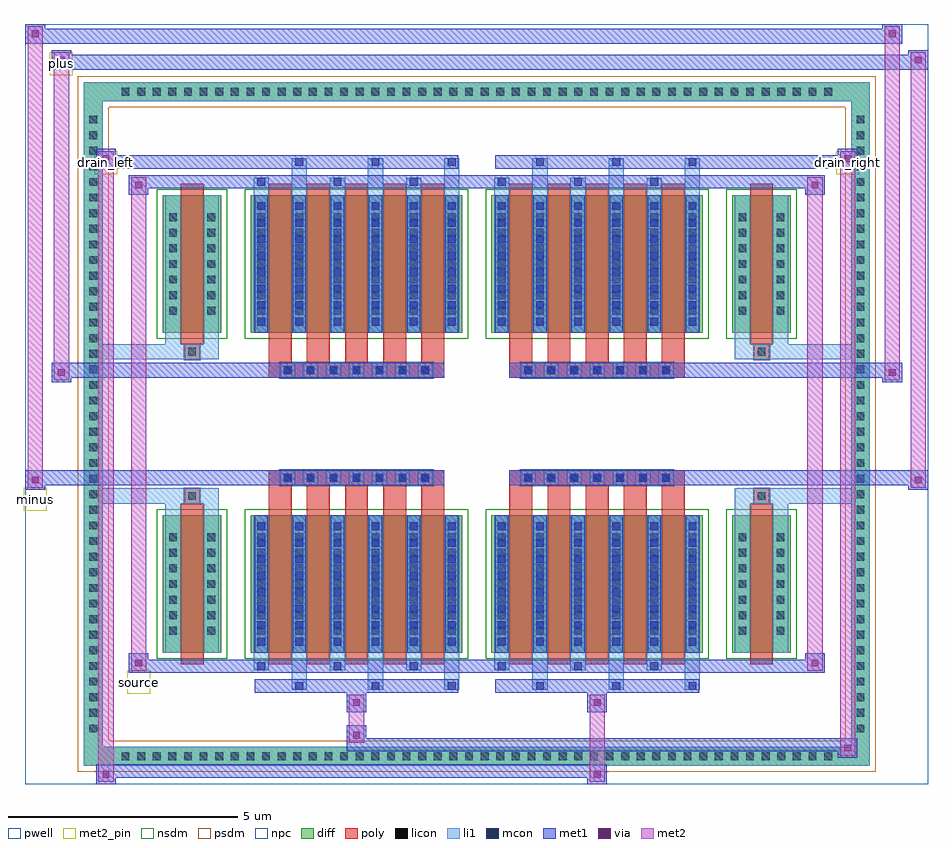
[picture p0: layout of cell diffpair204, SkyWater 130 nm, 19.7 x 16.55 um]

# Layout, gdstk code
import gdstk
lib = gdstk.Library(unit=1e-6, precision=5e-09)
def R(c, l, rs):  # rectangles x0, y0, x1, y1
    for r in rs: c.add(gdstk.rectangle(r[:2], r[2:], *l))
def A(c, l, x, y, w, h, nx, ny, dx, dy):  # array of equal rectangles
    R(c, l, [(x+i*dx, y+j*dy, x+i*dx+w, y+j*dy+h) for i in range(nx) for j in range(ny)])
def P(c, l, *ps):  # polygons
    for p in ps: c.add(gdstk.Polygon(p, *l))
pwell = (64, 44)
diff = (65, 20)
poly = (66, 20)
licon = (66, 44)
li1 = (67, 20)
mcon = (67, 44)
met1 = (68, 20)
via = (68, 44)
met2_pin = (69, 16)
met2 = (69, 20)
nsdm = (93, 44)
psdm = (94, 20)
npc = (95, 20)

diffpair204 = lib.new_cell('diffpair204')
R(diffpair204, pwell, [(-9.83,-7.84,9.83,8.71), (-7.15,-6.03,-0.01,-0.805), (0.01,-6.03,7.15,-0.805), (-7.15,0.805,-0.01,6.03), (0.01,0.805,7.15,6.03)])
A(diffpair204, diff, -7.855, -7.44, 0.41, 0.41, 46, 2, 0.34, 14.47)
A(diffpair204, diff, -8.56, -6.835, 0.41, 0.41, 1, 40, 0, 0.34)
A(diffpair204, diff, 8.15, -6.835, 0.41, 0.41, 1, 40, 0, 0.34)
R(diffpair204, diff, [(-7.855,-7.44,7.855,-7.03), (-8.56,-6.835,-8.15,6.835), (8.15,-6.835,8.56,6.835), (-6.84,-4.985,-5.56,-1.985), (-4.92,-4.985,-0.32,-1.985), (0.32,-4.985,4.92,-1.985), (5.56,-4.985,6.84,-1.985), (-6.84,1.985,-5.56,4.985), (-4.92,1.985,-0.32,4.985), (0.32,1.985,4.92,4.985), (5.56,1.985,6.84,4.985), (-7.855,7.03,7.855,7.44)])
P(diffpair204, diff, [(8.56,7.44),(-8.56,7.44),(-8.56,-7.03),(-8.15,-7.03),(-8.15,7.03),(8.15,7.03),(8.15,-7.03),(-8.15,-7.03),(-8.56,-7.03),(-8.56,-7.44),(8.56,-7.44)])
A(diffpair204, poly, -4.53, -5.235, 0.5, 3.5, 5, 2, 0.83, 6.97)
A(diffpair204, poly, 0.71, -5.235, 0.5, 3.5, 5, 2, 0.83, 6.97)
A(diffpair204, poly, -4.53, -1.735, 0.5, 0.4, 5, 2, 0.83, 3.07)
A(diffpair204, poly, 0.71, -1.735, 0.5, 0.4, 5, 2, 0.83, 3.07)
A(diffpair204, poly, -4.285, -1.335, 0.33, 0.33, 7, 2, 0.5, 2.34)
A(diffpair204, poly, 0.955, -1.335, 0.33, 0.33, 7, 2, 0.5, 2.34)
R(diffpair204, poly, [(-6.45,-5.235,-5.95,-1.735), (5.95,-5.235,6.45,-1.735), (-6.365,-1.735,-6.035,-1.405), (-6.365,-1.735,-6.035,-1.405), (6.035,-1.735,6.365,-1.405), (6.035,-1.735,6.365,-1.405), (-4.53,-1.335,-0.71,-1.005), (0.71,-1.335,4.53,-1.005), (-4.53,1.005,-0.71,1.335), (0.71,1.005,4.53,1.335), (-6.365,1.405,-6.035,1.735), (-6.365,1.405,-6.035,1.735), (6.035,1.405,6.365,1.735), (6.035,1.405,6.365,1.735), (-6.45,1.735,-5.95,5.235), (5.95,1.735,6.45,5.235)])
A(diffpair204, licon, -7.735, -7.32, 0.17, 0.17, 46, 2, 0.34, 14.47)
A(diffpair204, licon, -8.44, -6.715, 0.17, 0.17, 1, 40, 0, 0.34)
A(diffpair204, licon, 8.27, -6.715, 0.17, 0.17, 1, 40, 0, 0.34)
A(diffpair204, licon, -6.7, -4.59, 0.17, 0.17, 1, 7, 0, 0.34)
A(diffpair204, licon, -5.87, -4.59, 0.17, 0.17, 1, 7, 0, 0.34)
A(diffpair204, licon, -4.78, -4.59, 0.17, 0.17, 6, 7, 0.83, 0.34)
A(diffpair204, licon, 0.46, -4.59, 0.17, 0.17, 6, 7, 0.83, 0.34)
A(diffpair204, licon, 5.7, -4.59, 0.17, 0.17, 1, 7, 0, 0.34)
A(diffpair204, licon, 6.53, -4.59, 0.17, 0.17, 1, 7, 0, 0.34)
A(diffpair204, licon, -4.205, -1.255, 0.17, 0.17, 7, 2, 0.5, 2.34)
A(diffpair204, licon, 1.035, -1.255, 0.17, 0.17, 7, 2, 0.5, 2.34)
A(diffpair204, licon, -6.7, 2.38, 0.17, 0.17, 1, 7, 0, 0.34)
A(diffpair204, licon, -5.87, 2.38, 0.17, 0.17, 1, 7, 0, 0.34)
A(diffpair204, licon, -4.78, 2.38, 0.17, 0.17, 6, 7, 0.83, 0.34)
A(diffpair204, licon, 0.46, 2.38, 0.17, 0.17, 6, 7, 0.83, 0.34)
A(diffpair204, licon, 5.7, 2.38, 0.17, 0.17, 1, 7, 0, 0.34)
A(diffpair204, licon, 6.53, 2.38, 0.17, 0.17, 1, 7, 0, 0.34)
R(diffpair204, licon, [(-6.285,-1.655,-6.115,-1.485), (6.115,-1.655,6.285,-1.485), (-6.285,1.485,-6.115,1.655), (6.115,1.485,6.285,1.655)])
A(diffpair204, li1, -7.815, -7.4, 0.33, 0.33, 46, 2, 0.34, 14.47)
A(diffpair204, li1, -8.52, -6.795, 0.33, 0.33, 1, 40, 0, 0.34)
A(diffpair204, li1, 8.19, -6.795, 0.33, 0.33, 1, 40, 0, 0.34)
A(diffpair204, li1, -4.03, -5.79, 0.33, 0.805, 3, 2, 1.66, 10.775)
A(diffpair204, li1, -3.95, -5.79, 0.17, 0.17, 3, 2, 1.66, 11.41)
A(diffpair204, li1, 1.21, -5.79, 0.33, 0.805, 3, 2, 1.66, 10.775)
A(diffpair204, li1, 1.29, -5.79, 0.17, 0.17, 3, 2, 1.66, 11.41)
A(diffpair204, li1, -4.86, -5.36, 0.33, 0.375, 3, 2, 1.66, 10.345)
A(diffpair204, li1, -4.78, -5.36, 0.17, 0.17, 3, 2, 1.66, 10.55)
A(diffpair204, li1, 0.38, -5.36, 0.33, 0.375, 3, 2, 1.66, 10.345)
A(diffpair204, li1, 0.46, -5.36, 0.17, 0.17, 3, 2, 1.66, 10.55)
A(diffpair204, li1, -4.86, -4.985, 0.33, 3, 6, 2, 0.83, 6.97)
A(diffpair204, li1, 0.38, -4.985, 0.33, 3, 6, 2, 0.83, 6.97)
A(diffpair204, li1, -4.78, -4.83, 0.17, 0.17, 6, 8, 0.83, 0.36)
A(diffpair204, li1, -4.78, -4.83, 0.17, 2.69, 6, 2, 0.83, 6.97)
A(diffpair204, li1, 0.46, -4.83, 0.17, 0.17, 6, 8, 0.83, 0.36)
A(diffpair204, li1, 0.46, -4.83, 0.17, 2.69, 6, 2, 0.83, 6.97)
A(diffpair204, li1, -6.78, -4.67, 0.33, 0.33, 1, 7, 0, 0.34)
A(diffpair204, li1, -5.95, -4.67, 0.33, 0.33, 1, 7, 0, 0.34)
A(diffpair204, li1, -4.86, -4.67, 0.33, 0.33, 6, 7, 0.83, 0.34)
A(diffpair204, li1, 0.38, -4.67, 0.33, 0.33, 6, 7, 0.83, 0.34)
A(diffpair204, li1, 5.62, -4.67, 0.33, 0.33, 1, 7, 0, 0.34)
A(diffpair204, li1, 6.45, -4.67, 0.33, 0.33, 1, 7, 0, 0.34)
A(diffpair204, li1, -4.285, -1.335, 0.33, 0.33, 7, 2, 0.5, 2.34)
A(diffpair204, li1, 0.955, -1.335, 0.33, 0.33, 7, 2, 0.5, 2.34)
A(diffpair204, li1, -4.78, 2.14, 0.17, 0.17, 6, 8, 0.83, 0.36)
A(diffpair204, li1, 0.46, 2.14, 0.17, 0.17, 6, 8, 0.83, 0.36)
A(diffpair204, li1, -6.78, 2.3, 0.33, 0.33, 1, 7, 0, 0.34)
A(diffpair204, li1, -5.95, 2.3, 0.33, 0.33, 1, 7, 0, 0.34)
A(diffpair204, li1, -4.86, 2.3, 0.33, 0.33, 6, 7, 0.83, 0.34)
A(diffpair204, li1, 0.38, 2.3, 0.33, 0.33, 6, 7, 0.83, 0.34)
A(diffpair204, li1, 5.62, 2.3, 0.33, 0.33, 1, 7, 0, 0.34)
A(diffpair204, li1, 6.45, 2.3, 0.33, 0.33, 1, 7, 0, 0.34)
R(diffpair204, li1, [(-8.56,-7.44,-8.15,-7.03), (-8.56,-7.44,-8.15,-7.03), (-8.15,-7.44,8.15,-7.03), (8.15,-7.44,8.56,-7.03), (8.15,-7.44,8.56,-7.03), (-8.56,-7.03,-8.15,7.03), (8.15,-7.03,8.56,7.03), (-6.78,-4.985,-6.45,-1.985), (-5.95,-4.985,-5.62,-1.985), (5.62,-4.985,5.95,-1.985), (6.45,-4.985,6.78,-1.985), (-6.78,-1.985,-6.45,-1.405), (-5.95,-1.985,-5.62,-1.405), (5.62,-1.985,5.95,-1.405), (6.45,-1.985,6.78,-1.405), (-8.56,-1.735,-6.365,-1.405), (-6.78,-1.735,-6.365,-1.405), (-6.365,-1.735,-6.035,-1.405), (-6.035,-1.735,-5.62,-1.405), (5.62,-1.735,6.035,-1.405), (6.035,-1.735,6.365,-1.405), (6.035,-1.735,8.56,-1.405), (6.365,-1.735,6.78,-1.405), (-8.56,1.405,-6.365,1.735), (-6.78,1.405,-6.365,1.735), (-6.78,1.405,-6.45,1.985), (-6.365,1.405,-6.035,1.735), (-6.035,1.405,-5.62,1.735), (-5.95,1.405,-5.62,1.985), (5.62,1.405,6.035,1.735), (5.62,1.405,5.95,1.985), (6.035,1.405,6.365,1.735), (6.035,1.405,8.56,1.735), (6.365,1.405,6.78,1.735), (6.45,1.405,6.78,1.985), (-6.78,1.985,-6.45,4.985), (-5.95,1.985,-5.62,4.985), (5.62,1.985,5.95,4.985), (6.45,1.985,6.78,4.985), (-8.56,7.03,-8.15,7.44), (-8.56,7.03,-8.15,7.44), (-8.15,7.03,8.15,7.44), (8.15,7.03,8.56,7.44), (8.15,7.03,8.56,7.44)])
A(diffpair204, mcon, -3.95, -5.79, 0.17, 0.17, 3, 2, 1.66, 11.41)
A(diffpair204, mcon, 1.29, -5.79, 0.17, 0.17, 3, 2, 1.66, 11.41)
A(diffpair204, mcon, -4.78, -5.36, 0.17, 0.17, 3, 2, 1.66, 10.55)
A(diffpair204, mcon, 0.46, -5.36, 0.17, 0.17, 3, 2, 1.66, 10.55)
A(diffpair204, mcon, -4.78, -4.83, 0.17, 0.17, 6, 8, 0.83, 0.36)
A(diffpair204, mcon, 0.46, -4.83, 0.17, 0.17, 6, 8, 0.83, 0.36)
A(diffpair204, mcon, -4.205, -1.255, 0.17, 0.17, 7, 2, 0.5, 2.34)
A(diffpair204, mcon, 1.035, -1.255, 0.17, 0.17, 7, 2, 0.5, 2.34)
A(diffpair204, mcon, -4.78, 2.14, 0.17, 0.17, 6, 8, 0.83, 0.36)
A(diffpair204, mcon, 0.46, 2.14, 0.17, 0.17, 6, 8, 0.83, 0.36)
A(diffpair204, met1, -4.01, -5.85, 0.29, 0.29, 3, 2, 1.66, 11.41)
A(diffpair204, met1, 1.23, -5.85, 0.29, 0.29, 3, 2, 1.66, 11.41)
A(diffpair204, met1, -4.84, -5.42, 0.29, 0.29, 3, 2, 1.66, 10.55)
A(diffpair204, met1, 0.4, -5.42, 0.29, 0.29, 3, 2, 1.66, 10.55)
A(diffpair204, met1, -4.84, -4.985, 0.29, 3, 6, 2, 0.83, 6.97)
A(diffpair204, met1, 0.4, -4.985, 0.29, 3, 6, 2, 0.83, 6.97)
A(diffpair204, met1, -4.84, -4.89, 0.29, 0.29, 6, 8, 0.83, 0.36)
A(diffpair204, met1, 0.4, -4.89, 0.29, 0.29, 6, 8, 0.83, 0.36)
A(diffpair204, met1, -4.265, -1.315, 0.29, 0.29, 7, 2, 0.5, 2.34)
A(diffpair204, met1, 0.975, -1.315, 0.29, 0.29, 7, 2, 0.5, 2.34)
A(diffpair204, met1, -4.84, 2.08, 0.29, 0.29, 6, 8, 0.83, 0.36)
A(diffpair204, met1, 0.4, 2.08, 0.29, 0.29, 6, 8, 0.83, 0.36)
R(diffpair204, met1, [(-8.29,-7.84,-7.86,-7.41), (2.405,-7.84,2.835,-7.41), (-8.29,-7.7,2.835,-7.41), (7.86,-7.27,8.29,-6.84), (-2.835,-7.13,8.29,-6.84), (-2.835,-6.99,-2.405,-6.56), (-2.835,-6.28,-2.405,-5.85), (2.405,-6.28,2.835,-5.85), (-4.84,-5.85,-0.4,-5.56), (0.4,-5.85,4.84,-5.56), (-7.58,-5.42,-7.15,-4.99), (-7.58,-5.42,-4.84,-5.13), (-4.84,-5.42,-0.4,-5.13), (-0.4,-5.42,0.4,-5.13), (0.4,-5.42,4.84,-5.13), (4.84,-5.42,7.58,-5.13), (7.15,-5.42,7.58,-4.99), (-9.83,-1.435,-9.4,-1.005), (9.4,-1.435,9.83,-1.005), (-9.83,-1.335,-0.71,-1.005), (-4.53,-1.335,-0.71,-1.005), (0.71,-1.335,4.53,-1.005), (0.71,-1.335,9.83,-1.005), (-9.26,0.905,-8.83,1.335), (8.83,0.905,9.26,1.335), (-9.26,1.005,-4.53,1.335), (-4.53,1.005,-0.71,1.335), (0.71,1.005,4.53,1.335), (4.53,1.005,9.26,1.335), (-7.58,4.99,-7.15,5.42), (7.15,4.99,7.58,5.42), (-7.58,5.13,-4.84,5.42), (-4.84,5.13,-0.4,5.42), (-0.4,5.13,0.4,5.42), (0.4,5.13,4.84,5.42), (4.84,5.13,7.58,5.42), (-8.29,5.56,-7.86,5.99), (-8.29,5.56,-4.84,5.85), (-4.84,5.56,-0.4,5.85), (0.4,5.56,4.84,5.85), (4.84,5.56,8.29,5.85), (7.86,5.56,8.29,5.99), (-9.26,7.71,-8.83,8.14), (-9.26,7.71,-7.15,8.04), (-7.15,7.71,7.15,8.04), (7.15,7.71,9.83,8.04), (9.4,7.71,9.83,8.14), (-9.83,8.28,-9.4,8.71), (-9.83,8.28,-7.15,8.61), (-7.15,8.28,7.15,8.61), (7.15,8.28,9.26,8.61), (8.83,8.28,9.26,8.71)])
R(diffpair204, via, [(-8.15,-7.7,-8,-7.55), (2.545,-7.7,2.695,-7.55), (8,-7.13,8.15,-6.98), (-2.695,-6.85,-2.545,-6.7), (-2.695,-6.14,-2.545,-5.99), (2.545,-6.14,2.695,-5.99), (-7.44,-5.28,-7.29,-5.13), (7.29,-5.28,7.44,-5.13), (-9.69,-1.295,-9.54,-1.145), (9.54,-1.295,9.69,-1.145), (-9.12,1.045,-8.97,1.195), (8.97,1.045,9.12,1.195), (-7.44,5.13,-7.29,5.28), (7.29,5.13,7.44,5.28), (-8.15,5.7,-8,5.85), (8,5.7,8.15,5.85), (-9.12,7.85,-8.97,8), (9.54,7.85,9.69,8), (-9.69,8.42,-9.54,8.57), (8.97,8.42,9.12,8.57)])
R(diffpair204, met2_pin, [(-7.615,-5.87,-7.115,-5.37), (-9.865,-1.885,-9.365,-1.385), (-8.325,5.44,-7.825,5.94), (7.825,5.44,8.325,5.94), (-9.295,7.59,-8.795,8.09)])
R(diffpair204, met2, [(-8.24,-7.79,-7.91,-7.46), (-8.24,-7.79,-7.91,5.94), (2.455,-7.79,2.785,-7.46), (2.455,-7.46,2.785,-6.23), (7.91,-7.22,8.24,-6.89), (7.91,-7.22,8.24,5.94), (-2.785,-6.94,-2.455,-6.61), (-2.785,-6.61,-2.455,-6.23), (-2.785,-6.23,-2.455,-5.9), (2.455,-6.23,2.785,-5.9), (-7.53,-5.37,-7.2,-5.04), (-7.53,-5.37,-7.2,5.37), (7.2,-5.37,7.53,-5.04), (7.2,-5.37,7.53,5.37), (-9.78,-1.385,-9.45,-1.055), (-9.78,-1.385,-9.45,8.66), (9.45,-1.385,9.78,-1.055), (9.45,-1.385,9.78,8.09), (-9.21,0.955,-8.88,1.285), (-9.21,0.955,-8.88,8.09), (8.88,0.955,9.21,1.285), (8.88,0.955,9.21,8.66), (-7.53,5.04,-7.2,5.37), (7.2,5.04,7.53,5.37), (-8.24,5.61,-7.91,5.94), (7.91,5.61,8.24,5.94), (-9.21,7.76,-8.88,8.09), (9.45,7.76,9.78,8.09), (-9.78,8.33,-9.45,8.66), (8.88,8.33,9.21,8.66)])
P(diffpair204, met2, [(9.78,-1.385),(9.78,-1.385),(9.78,-1.055),(9.78,-1.055)],
  [(9.78,7.76),(9.78,7.76),(9.78,8.09),(9.78,8.09)],
  [(-9.45,-1.385),(-9.45,-1.385),(-9.45,-1.055),(-9.45,-1.055)],
  [(-9.45,8.33),(-9.45,8.33),(-9.45,8.66),(-9.45,8.66)],
  [(9.21,0.955),(9.21,0.955),(9.21,1.285),(9.21,1.285)],
  [(9.21,8.33),(9.21,8.33),(9.21,8.66),(9.21,8.66)],
  [(-8.88,0.955),(-8.88,0.955),(-8.88,1.285),(-8.88,1.285)],
  [(-8.88,7.76),(-8.88,7.76),(-8.88,8.09),(-8.88,8.09)],
  [(-7.91,-7.79),(-7.91,-7.79),(-7.91,-7.46),(-7.91,-7.46)],
  [(-7.91,5.61),(-7.91,5.61),(-7.91,5.94),(-7.91,5.94)],
  [(8.24,-7.22),(8.24,-7.22),(8.24,-6.89),(8.24,-6.89)],
  [(8.24,5.61),(8.24,5.61),(8.24,5.94),(8.24,5.94)],
  [(-7.2,-5.37),(-7.2,-5.37),(-7.2,-5.04),(-7.2,-5.04)],
  [(-7.2,5.04),(-7.2,5.04),(-7.2,5.37),(-7.2,5.37)],
  [(7.53,-5.37),(7.53,-5.37),(7.53,-5.04),(7.53,-5.04)],
  [(7.53,5.04),(7.53,5.04),(7.53,5.37),(7.53,5.37)])
R(diffpair204, nsdm, [(-6.97,-5.115,-5.43,-1.855), (-5.05,-5.115,-0.19,-1.855), (0.19,-5.115,5.05,-1.855), (5.43,-5.115,6.97,-1.855), (-6.97,1.855,-5.43,5.115), (-5.05,1.855,-0.19,5.115), (0.19,1.855,5.05,5.115), (5.43,1.855,6.97,5.115)])
P(diffpair204, psdm, [(8.69,7.57),(-8.69,7.57),(-8.69,-6.9),(-8.02,-6.9),(-8.02,6.9),(8.02,6.9),(8.02,-6.9),(-8.02,-6.9),(-8.69,-6.9),(-8.69,-7.57),(8.69,-7.57)])
A(diffpair204, npc, -4.305, -1.355, 0.37, 0.37, 7, 2, 0.5, 2.34)
A(diffpair204, npc, 0.935, -1.355, 0.37, 0.37, 7, 2, 0.5, 2.34)
R(diffpair204, npc, [(-6.385,-1.755,-6.015,-1.385), (6.015,-1.755,6.385,-1.385), (-4.305,-1.355,-3.435,-0.985), (-4.305,-1.355,-3.435,-0.985), (-3.805,-1.355,-2.935,-0.985), (-3.805,-1.355,-2.935,-0.985), (-3.305,-1.355,-2.435,-0.985), (-3.305,-1.355,-2.435,-0.985), (-2.805,-1.355,-1.935,-0.985), (-2.805,-1.355,-1.935,-0.985), (-2.305,-1.355,-1.435,-0.985), (-2.305,-1.355,-1.435,-0.985), (-1.805,-1.355,-0.935,-0.985), (-1.805,-1.355,-0.935,-0.985), (0.935,-1.355,1.805,-0.985), (0.935,-1.355,1.805,-0.985), (1.435,-1.355,2.305,-0.985), (1.435,-1.355,2.305,-0.985), (1.935,-1.355,2.805,-0.985), (1.935,-1.355,2.805,-0.985), (2.435,-1.355,3.305,-0.985), (2.435,-1.355,3.305,-0.985), (2.935,-1.355,3.805,-0.985), (2.935,-1.355,3.805,-0.985), (3.435,-1.355,4.305,-0.985), (3.435,-1.355,4.305,-0.985), (-4.305,0.985,-3.435,1.355), (-4.305,0.985,-3.435,1.355), (-3.805,0.985,-2.935,1.355), (-3.805,0.985,-2.935,1.355), (-3.305,0.985,-2.435,1.355), (-3.305,0.985,-2.435,1.355), (-2.805,0.985,-1.935,1.355), (-2.805,0.985,-1.935,1.355), (-2.305,0.985,-1.435,1.355), (-2.305,0.985,-1.435,1.355), (-1.805,0.985,-0.935,1.355), (-1.805,0.985,-0.935,1.355), (0.935,0.985,1.805,1.355), (0.935,0.985,1.805,1.355), (1.435,0.985,2.305,1.355), (1.435,0.985,2.305,1.355), (1.935,0.985,2.805,1.355), (1.935,0.985,2.805,1.355), (2.435,0.985,3.305,1.355), (2.435,0.985,3.305,1.355), (2.935,0.985,3.805,1.355), (2.935,0.985,3.805,1.355), (3.435,0.985,4.305,1.355), (3.435,0.985,4.305,1.355), (-6.385,1.385,-6.015,1.755), (6.015,1.385,6.385,1.755)])
diffpair204.add(gdstk.Label('minus', (-9.615,-1.635), layer=69, texttype=5))
diffpair204.add(gdstk.Label('drain_right', (8.075,5.69), layer=69, texttype=5))
diffpair204.add(gdstk.Label('drain_left', (-8.075,5.69), layer=69, texttype=5))
diffpair204.add(gdstk.Label('source', (-7.365,-5.62), layer=69, texttype=5))
diffpair204.add(gdstk.Label('plus', (-9.045,7.84), layer=69, texttype=5))

lib.write_gds('diffpair204.gds')
